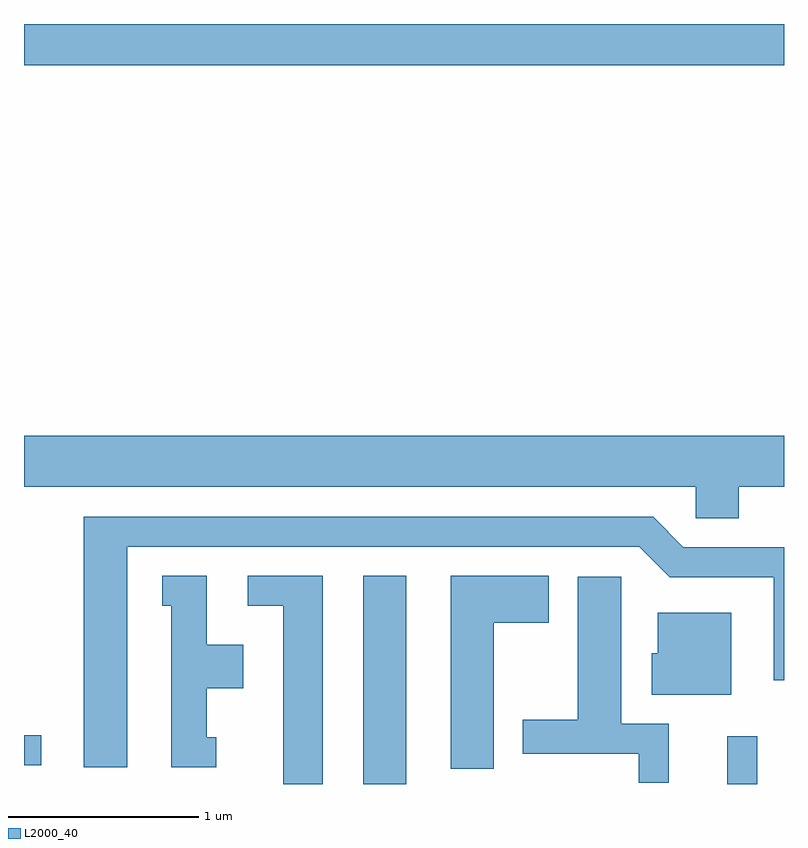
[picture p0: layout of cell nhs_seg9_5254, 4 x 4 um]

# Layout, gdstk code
import gdstk
lib = gdstk.Library(unit=1e-6, precision=1e-09)
def R(c, l, rs):  # rectangles x0, y0, x1, y1
    for r in rs: c.add(gdstk.rectangle(r[:2], r[2:], *l))
def P(c, l, *ps):  # polygons
    for p in ps: c.add(gdstk.Polygon(p, *l))
L2000_40 = (2000, 40)

nhs_seg9_5254 = lib.new_cell('nhs_seg9_5254')
R(nhs_seg9_5254, L2000_40, [(341.396,2032.432,341.624,2033.529), (343.311,2032.432,343.469,2032.683), (339.611,2032.531,339.703,2032.689), (339.611,2036.216,343.611,2036.432)])
P(nhs_seg9_5254, L2000_40, [(343.374,2033.996),(343.611,2033.996),(343.611,2034.264),(339.611,2034.264),(339.611,2033.996),(343.146,2033.996),(343.146,2033.831),(343.374,2033.831)],
  [(340.154,2033.681),(342.849,2033.681),(343.009,2033.521),(343.556,2033.521),(343.556,2032.978),(343.611,2032.978),(343.611,2033.679),(343.082,2033.679),(342.922,2033.839),(339.926,2033.839),(339.926,2032.521),(340.154,2032.521)],
  [(340.623,2032.679),(340.574,2032.679),(340.574,2032.936),(340.764,2032.936),(340.764,2033.164),(340.574,2033.164),(340.574,2033.529),(340.338,2033.529),(340.338,2033.371),(340.386,2033.371),(340.386,2032.521),(340.623,2032.521)],
  [(341.184,2033.529),(340.788,2033.529),(340.788,2033.371),(340.976,2033.371),(340.976,2032.432),(341.184,2032.432)],
  [(342.084,2033.281),(342.374,2033.281),(342.374,2033.529),(341.856,2033.529),(341.856,2032.511),(342.084,2032.511)],
  [(343.004,2032.749),(342.754,2032.749),(342.754,2033.524),(342.526,2033.524),(342.526,2032.769),(342.236,2032.769),(342.236,2032.591),(342.846,2032.591),(342.846,2032.438),(343.004,2032.438)],
  [(343.334,2033.334),(342.946,2033.334),(342.946,2033.119),(342.916,2033.119),(342.916,2032.901),(343.334,2032.901)])

lib.write_gds('nhs_seg9_5254.gds')
